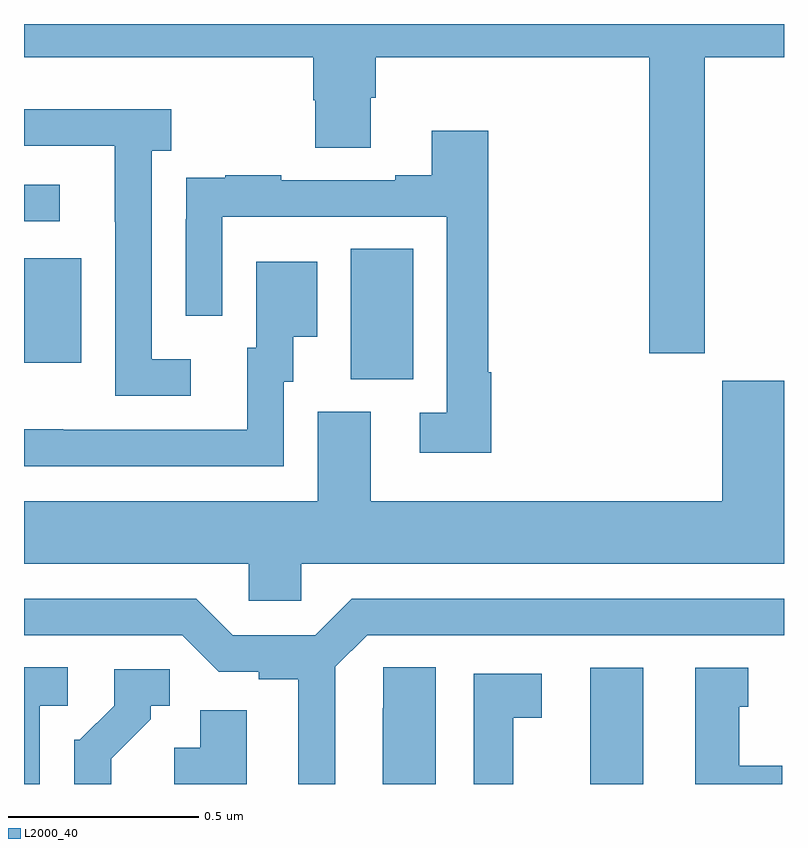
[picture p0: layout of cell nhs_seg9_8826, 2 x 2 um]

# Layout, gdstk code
import gdstk
lib = gdstk.Library(unit=1e-6, precision=1e-09)
def R(c, l, rs):  # rectangles x0, y0, x1, y1
    for r in rs: c.add(gdstk.rectangle(r[:2], r[2:], *l))
def P(c, l, *ps):  # polygons
    for p in ps: c.add(gdstk.Polygon(p, *l))
L2000_40 = (2000, 40)

nhs_seg9_8826 = lib.new_cell('nhs_seg9_8826')
R(nhs_seg9_8826, L2000_40, [(223.49,1202.5,223.63,1202.806), (222.86,1203.565,223.024,1203.908), (222,1203.609,222.151,1203.883), (222,1203.981,222.094,1204.077)])
P(nhs_seg9_8826, L2000_40, [(223.792,1204.412),(224,1204.412),(224,1204.5),(222,1204.5),(222,1204.412),(222.761,1204.412),(222.761,1204.299),(222.766,1204.299),(222.766,1204.174),(222.913,1204.174),(222.913,1204.306),(222.926,1204.306),(222.926,1204.412),(223.645,1204.412),(223.645,1203.633),(223.792,1203.633)],
  [(222.439,1203.618),(222.336,1203.618),(222.336,1204.166),(222.388,1204.166),(222.388,1204.276),(222,1204.276),(222,1204.179),(222.239,1204.179),(222.239,1203.979),(222.24,1203.979),(222.24,1203.522),(222.439,1203.522)],
  [(223.229,1203.584),(223.222,1203.584),(223.222,1204.219),(223.073,1204.219),(223.073,1204.102),(222.977,1204.102),(222.977,1204.089),(222.677,1204.089),(222.677,1204.102),(222.529,1204.102),(222.529,1204.095),(222.427,1204.095),(222.427,1203.986),(222.426,1203.986),(222.426,1203.732),(222.522,1203.732),(222.522,1203.993),(223.113,1203.993),(223.113,1203.477),(223.041,1203.477),(223.041,1203.372),(223.229,1203.372)],
  [(222.684,1203.558),(222.709,1203.558),(222.709,1203.677),(222.772,1203.677),(222.772,1203.874),(222.611,1203.874),(222.611,1203.648),(222.587,1203.648),(222.587,1203.432),(222.103,1203.432),(222.103,1203.433),(222,1203.433),(222,1203.336),(222.684,1203.336)],
  [(224,1203.561),(223.838,1203.561),(223.838,1203.244),(222.913,1203.244),(222.913,1203.48),(222.773,1203.48),(222.773,1203.244),(222,1203.244),(222,1203.08),(222.591,1203.08),(222.591,1202.982),(222.729,1202.982),(222.729,1203.08),(224,1203.08)],
  [(222.819,1202.808),(222.903,1202.892),(224,1202.892),(224,1202.988),(222.863,1202.988),(222.767,1202.892),(222.549,1202.892),(222.453,1202.988),(222,1202.988),(222,1202.892),(222.417,1202.892),(222.513,1202.796),(222.618,1202.796),(222.618,1202.776),(222.722,1202.776),(222.722,1202.5),(222.819,1202.5)],
  [(223.084,1202.807),(222.945,1202.807),(222.945,1202.699),(222.944,1202.699),(222.944,1202.5),(223.084,1202.5)],
  [(222.042,1202.706),(222.115,1202.706),(222.115,1202.807),(222,1202.807),(222,1202.5),(222.042,1202.5)],
  [(223.996,1202.548),(223.882,1202.548),(223.882,1202.703),(223.906,1202.703),(223.906,1202.806),(223.766,1202.806),(223.766,1202.5),(223.996,1202.5)],
  [(222.229,1202.566),(222.334,1202.671),(222.334,1202.706),(222.384,1202.706),(222.384,1202.802),(222.237,1202.802),(222.237,1202.706),(222.147,1202.616),(222.132,1202.616),(222.132,1202.5),(222.229,1202.5)],
  [(223.288,1202.674),(223.363,1202.674),(223.363,1202.79),(223.184,1202.79),(223.184,1202.5),(223.288,1202.5)],
  [(222.586,1202.694),(222.464,1202.694),(222.464,1202.596),(222.395,1202.596),(222.395,1202.5),(222.586,1202.5)])

lib.write_gds('nhs_seg9_8826.gds')
